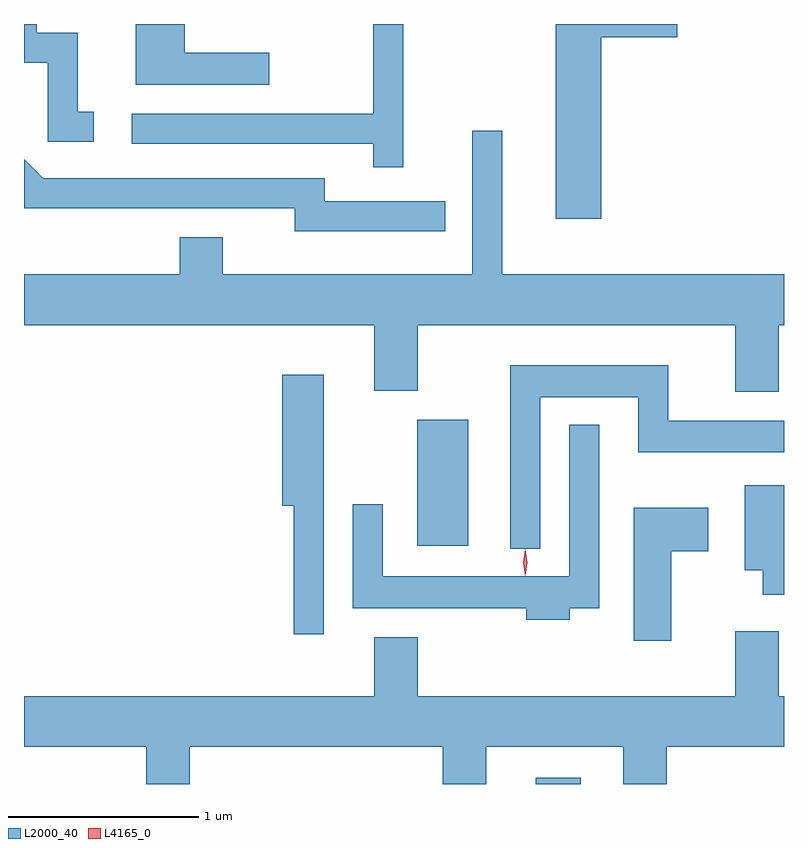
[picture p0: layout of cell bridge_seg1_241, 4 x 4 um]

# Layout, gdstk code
import gdstk
lib = gdstk.Library(unit=1e-6, precision=1e-09)
def R(c, l, rs):  # rectangles x0, y0, x1, y1
    for r in rs: c.add(gdstk.rectangle(r[:2], r[2:], *l))
def P(c, l, *ps):  # polygons
    for p in ps: c.add(gdstk.Polygon(p, *l))
L2000_40 = (2000, 40)
L4165_0 = (4165, 0)

bridge_seg1_241 = lib.new_cell('bridge_seg1_241')
R(bridge_seg1_241, L2000_40, [(829.351,877.181,829.588,877.214), (828.726,878.436,828.994,879.099)])
P(bridge_seg1_241, L2000_40, [(829.694,881.111),(830.094,881.111),(830.094,881.181),(829.456,881.181),(829.456,880.156),(829.694,880.156)],
  [(828.654,881.181),(828.496,881.181),(828.496,880.709),(827.223,880.709),(827.223,880.551),(828.496,880.551),(828.496,880.428),(828.654,880.428)],
  [(827.023,880.719),(826.939,880.719),(826.939,881.134),(826.724,881.134),(826.724,881.181),(826.657,881.181),(826.657,880.976),(826.781,880.976),(826.781,880.561),(827.023,880.561)],
  [(827.948,881.029),(827.504,881.029),(827.504,881.181),(827.246,881.181),(827.246,880.861),(827.948,880.861)],
  [(830.629,879.596),(830.657,879.596),(830.657,879.864),(829.174,879.864),(829.174,880.618),(829.016,880.618),(829.016,879.864),(827.704,879.864),(827.704,880.059),(827.476,880.059),(827.476,879.864),(826.657,879.864),(826.657,879.596),(828.501,879.596),(828.501,879.251),(828.729,879.251),(828.729,879.596),(830.401,879.596),(830.401,879.246),(830.629,879.246)],
  [(828.873,880.249),(828.239,880.249),(828.239,880.369),(826.757,880.369),(826.657,880.469),(826.657,880.211),(828.081,880.211),(828.081,880.091),(828.873,880.091)],
  [(829.374,879.216),(829.891,879.216),(829.891,878.926),(830.657,878.926),(830.657,879.094),(830.049,879.094),(830.049,879.384),(829.216,879.384),(829.216,878.418),(829.374,878.418)],
  [(828.234,879.334),(828.016,879.334),(828.016,878.646),(828.076,878.646),(828.076,877.968),(828.234,877.968)],
  [(829.529,878.106),(829.684,878.106),(829.684,879.073),(829.526,879.073),(829.526,878.274),(828.544,878.274),(828.544,878.653),(828.386,878.653),(828.386,878.106),(829.301,878.106),(829.301,878.046),(829.529,878.046)],
  [(830.657,878.754),(830.451,878.754),(830.451,878.306),(830.546,878.306),(830.546,878.176),(830.657,878.176)],
  [(830.064,878.406),(830.259,878.406),(830.259,878.634),(829.866,878.634),(829.866,877.936),(830.064,877.936)],
  [(830.657,877.644),(830.629,877.644),(830.629,877.984),(830.401,877.984),(830.401,877.644),(828.729,877.644),(828.729,877.954),(828.501,877.954),(828.501,877.644),(826.657,877.644),(826.657,877.376),(827.301,877.376),(827.301,877.181),(827.529,877.181),(827.529,877.376),(828.861,877.376),(828.861,877.181),(829.089,877.181),(829.089,877.376),(829.811,877.376),(829.811,877.181),(830.039,877.181),(830.039,877.376),(830.657,877.376)])
P(bridge_seg1_241, L4165_0, [(829.294,878.277),(829.285,878.346),(829.294,878.416),(829.295,878.416),(829.296,878.416),(829.305,878.346),(829.296,878.277),(829.295,878.277)],
  [(829.294,878.279),(829.294,878.28),(829.284,878.346),(829.294,878.412),(829.294,878.413),(829.295,878.412),(829.304,878.346),(829.295,878.28)])

lib.write_gds('bridge_seg1_241.gds')
